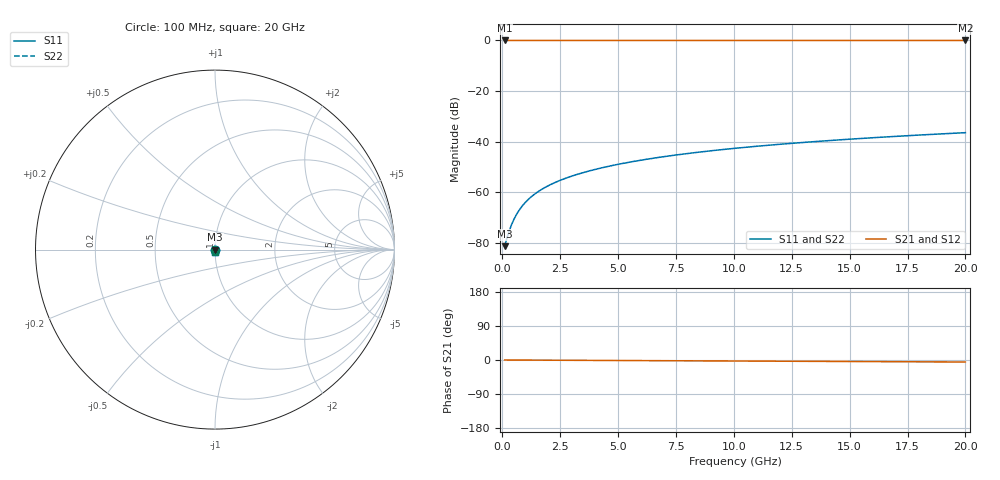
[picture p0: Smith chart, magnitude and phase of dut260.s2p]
! Touchstone file exported from HFSS 2026.1.0
!  File:  C:/ffzhzh/LocalFiles/Ansys_Project_Files/temp_train_TSV_260_1782993060_41620.aedt
!  Generated:  07:52:22 PM Jul  2, 2026
!  Design:  TSV
!  Project:  temp_train_TSV_260_1782993060_41620
! Variables:
!  h_bsmrdl = 2um
!  h_ox = 20um
!  h_rdl = 5um
!  h_sub = 50.21um
!  h_tmrdl = 5um
!  h_tsv = 50.21um
!  h_via = 3um
!  l_bsmrdl = 300um
!  l_sub = 423.7um
!  l_tmrdl = 200um
!  m_sub = 200um
!  pitch = 40.34um
!  r_tsv = 11.85um
!  s_tmrdl = 10um
!  w_bsmrdl = 18um
!  w_sub = 500um
!  w_tmrdl = 12um
!  x_tsv_center1 = 206um
!  x_tsv_center2 = 524um
!  x_tsv_center3 = 736um
!  x_tsv_center4 = 1054um
!  x_tsv_center5 = 1266um
!  x_tsv_center6 = 1584um
# GHz S MA R 50.000000
! Terminal data exported
! Port[1] = TSV1_1_T1
! Port[2] = TSV1_1_T2
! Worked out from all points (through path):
!   200 points, 100 MHz to 20 GHz, reference 50 ohm
!   highest |S21| = 0.00 dB at 100 MHz (marker M1); lowest = 0.0 dB at 20 GHz (marker M2)
!   lowest |S11| = -81.2 dB at 100 MHz (marker M3), VSWR 1.00, Z = 50 - j0.00458 ohm
!   |S11| at or under -10 dB: start of sweep to end of sweep
!   |S22| runs from -81.2 to -36.4 dB; largest |S21 - S12| = 1e-15
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0.1  8.727e-05 -31.7  0.9999 -0.0  0.9999 -0.0  8.727e-05 -31.7
! Gamma 0 0 0 0
! Port Impedance 50 0 50 0
0.2  0.0001256 -48.4  0.9999 -0.1  0.9999 -0.1  0.0001256 -48.4
0.3  0.0001751 -56.5  0.9999 -0.1  0.9999 -0.1  0.0001751 -56.5
0.4  0.0002318 -61.0  0.9999 -0.1  0.9999 -0.1  0.0002318 -61.0
0.5  0.0002936 -64.0  0.9999 -0.1  0.9999 -0.1  0.0002936 -64.0
0.6  0.0003592 -66.2  0.9999 -0.2  0.9999 -0.2  0.0003592 -66.2
0.7  0.0004275 -68.1  0.9998 -0.2  0.9998 -0.2  0.0004275 -68.1
0.9  0.0005688 -71.0  0.9998 -0.2  0.9998 -0.2  0.0005688 -71.0
1.2  0.0007861 -74.3  0.9998 -0.3  0.9998 -0.3  0.0007861 -74.3
1.6  0.001078 -77.2  0.9998 -0.4  0.9998 -0.4  0.001078 -77.2
2.1  0.001444 -79.6  0.9997 -0.6  0.9997 -0.6  0.001444 -79.6
2.7  0.001884 -81.4  0.9997 -0.7  0.9997 -0.7  0.001884 -81.4
3.5  0.002474 -83.0  0.9997 -0.9  0.9997 -0.9  0.002474 -83.0
4.2  0.002995 -84.0  0.9996 -1.1  0.9996 -1.1  0.002995 -84.0
5  0.003595 -84.8  0.9996 -1.3  0.9996 -1.3  0.003595 -84.8
5.9  0.004275 -85.6  0.9995 -1.6  0.9995 -1.6  0.004275 -85.6
6.8  0.004959 -86.3  0.9995 -1.8  0.9995 -1.8  0.004959 -86.2
8.3  0.006106 -87.2  0.9994 -2.2  0.9994 -2.2  0.006106 -87.2
10.1  0.007488 -88.2  0.9994 -2.7  0.9994 -2.7  0.007488 -88.2
13.4  0.01003 -89.7  0.9993 -3.6  0.9993 -3.6  0.01003 -89.7
16.7  0.01259 -91.0  0.9992 -4.4  0.9992 -4.4  0.01259 -91.0
20  0.01515 -92.2  0.9991 -5.3  0.9991 -5.3  0.01515 -92.2
